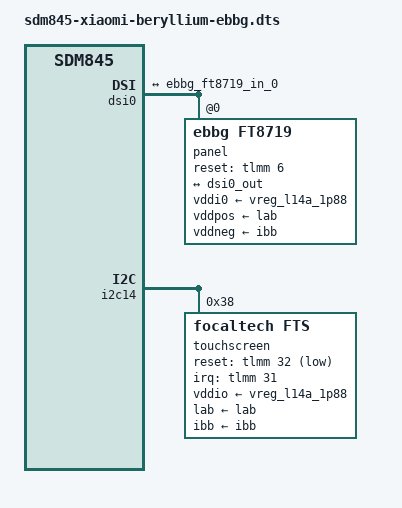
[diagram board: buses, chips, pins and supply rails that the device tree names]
// SPDX-License-Identifier: GPL-2.0

/dts-v1/;

#include "sdm845-xiaomi-beryllium-common.dtsi"

&dsi0 {
	status = "okay";
	vdda-supply = <&vdda_mipi_dsi0_1p2>;

	ports {
		port@1 {
			endpoint {
				remote-endpoint = <&ebbg_ft8719_in_0>;
				data-lanes = <0 1 2 3>;
			};
		};
	};

	panel@0 {
		compatible = "ebbg,ft8719";
		reg = <0>;
		vddi0-supply = <&vreg_l14a_1p88>;
		vddpos-supply = <&lab>;
		vddneg-supply = <&ibb>;

		reset-gpios = <&tlmm 6 GPIO_ACTIVE_HIGH>;

		pinctrl-names = "panel_active", "panel_suspend";
		pinctrl-0 = <&sde_dsi_active>;
		pinctrl-1 = <&sde_dsi_suspend>;

		ports {
			#address-cells = <1>;
			#size-cells = <0>;

			port@0 {
				reg = <0>;
				ebbg_ft8719_in_0: endpoint {
					remote-endpoint = <&dsi0_out>;
				};
			};
		};
	};
};

&tlmm {
	ts_mux {

		ts_int_active: ts_int_active {
			mux {
				pins = "gpio31";
				function = "gpio";
			};

			config {
				pins = "gpio31";
				drive-strength = <16>;
				bias-pull-down;
				input-enable;
			};
		};

		ts_reset_active: ts_reset_active {
			mux {
				pins = "gpio32";
				function = "gpio";
			};

			config {
				pins = "gpio32";
				drive-strength = <16>;
				output-high;
			};
		};

		ts_reset_suspend: ts_reset_suspend {
			mux {
				pins = "gpio32";
				function = "gpio";
			};

			config {
				pins = "gpio32";
				drive-strength = <2>;
				bias-disable;
				output-low;
			};
		};

		ts_int_suspend: ts_int_suspend {
			mux {
				pins = "gpio31";
				function = "gpio";
			};

			config {
				pins = "gpio31";
				drive-strength = <2>;
				bias-pull-down;
				input-enable;
			};
		};
	};
};

&i2c14 {
	status="okay";

	dmas =  <&gpi_dma1 0 6 QCOM_GPI_I2C>,
		<&gpi_dma1 1 6 QCOM_GPI_I2C>;
	dma-names = "tx", "rx";

	touchscreen: focaltech@38 {
		compatible = "focaltech,fts";
		reg = <0x38>;
		interrupt-parent = <&tlmm>;
		interrupts = <31 0>;
		vddio-supply = <&vreg_l14a_1p88>;
		lab-supply = <&lab>;
		ibb-supply = <&ibb>;

		focaltech,reset-gpio = <&tlmm 32 0x01>;
		focaltech,irq-gpio = <&tlmm 31 0x02>;
		focaltech,max-touch-number = <10>;
		focaltech,display-coords = <0 0 1080 2246>;
		pinctrl-names = "pmx_ts_active", "pmx_ts_suspend";
		pinctrl-0 = <&ts_int_active &ts_reset_active>;
		pinctrl-1 = <&ts_int_suspend &ts_reset_suspend>;
	};
};
